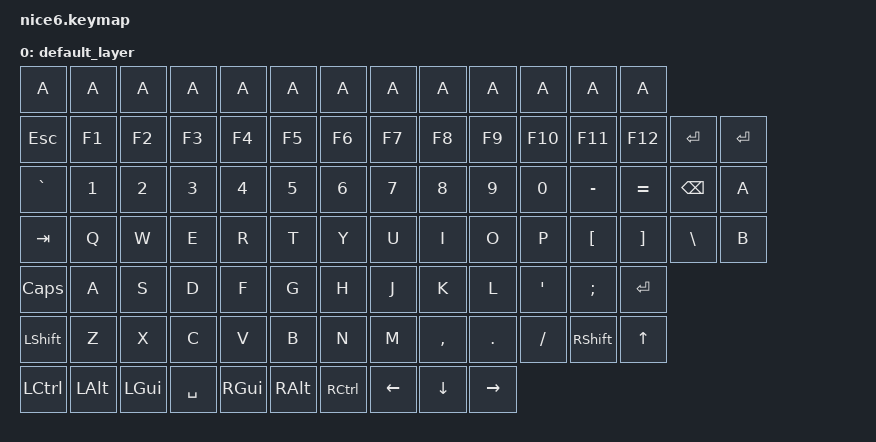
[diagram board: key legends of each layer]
/*
 * Copyright (c) 2021 Nick Winans
 *
 * SPDX-License-Identifier: MIT
 */

#include <behaviors.dtsi>
#include <dt-bindings/zmk/keys.h>
#include <dt-bindings/zmk/bt.h>

/ {
    keymap {
        compatible = "zmk,keymap";

        default_layer {
            bindings = <
                &kp A       &kp A       &kp A       &kp A       &kp A       &kp A       &kp A       &kp A       &kp A       &kp A       &kp A       &kp A       &kp A
                
                &kp ESC     &kp F1      &kp F2      &kp F3      &kp F4      &kp F5      &kp F6      &kp F7      &kp F8      &kp F9      &kp F10     &kp F11      &kp F12    &kp ENTER     &kp ENTER
                
                &kp GRAVE   &kp 1       &kp 2       &kp 3       &kp 4       &kp 5       &kp 6       &kp 7       &kp 8       &kp 9       &kp 0       &kp MINUS    &kp EQUAL   &kp BSPC     &kp A
                
                &kp TAB     &kp Q       &kp W       &kp E       &kp R       &kp T       &kp Y       &kp U       &kp I       &kp O       &kp P       &kp LBKT     &kp RBKT    &kp BSLH     &kp B
                
                &kp CAPS    &kp A       &kp S       &kp D       &kp F       &kp G       &kp H       &kp J       &kp K       &kp L       &kp SQT     &kp SEMI     &kp ENTER
                
                &kp LSHFT   &kp Z       &kp X       &kp C       &kp V       &kp B       &kp N       &kp M       &kp COMMA   &kp DOT     &kp SLASH   &kp RSHFT    &kp UP
                
                &kp LCTRL   &kp LALT    &kp LGUI    &kp SPACE   &kp RGUI    &kp RALT    &kp RCTRL   &kp LEFT    &kp DOWN    &kp RIGHT
            >;
        };
    };
};
